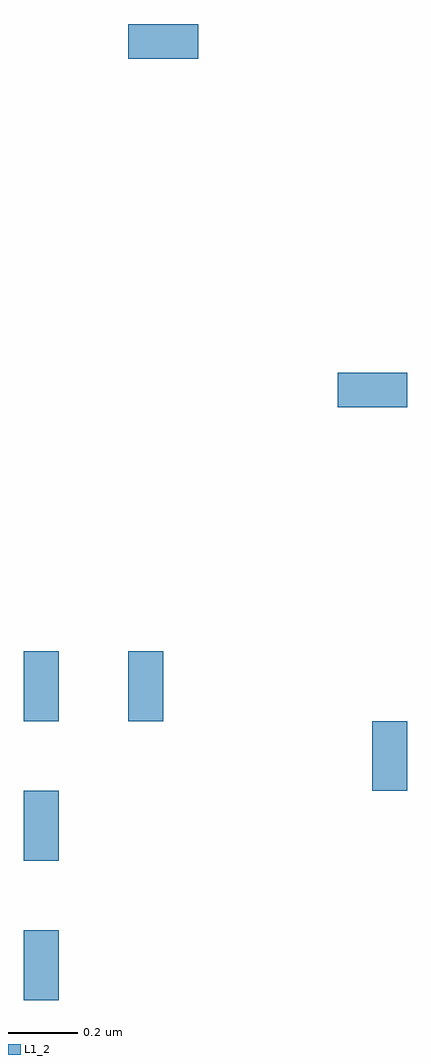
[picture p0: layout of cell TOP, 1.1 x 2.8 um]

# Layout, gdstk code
from math import pi, radians
import gdstk
lib = gdstk.Library(unit=1e-6, precision=1e-09)
def R(c, l, rs):  # rectangles x0, y0, x1, y1
    for r in rs: c.add(gdstk.rectangle(r[:2], r[2:], *l))
L1_2 = (1, 2)

c_a = lib.new_cell('A')
R(c_a, L1_2, [(0.3,-0.4,0.4,-0.2)])

top = lib.new_cell('TOP')
top.add(gdstk.Reference(c_a, (-0.3,0.4)))
top.add(gdstk.Reference(c_a, (-0.3,0.8)))
top.add(gdstk.Reference(c_a, (-0.3,1.2)))
top.add(gdstk.Reference(c_a, (0,1.2)))
top.add(gdstk.Reference(c_a, (0.7,0.4), x_reflection=True))
top.add(gdstk.Reference(c_a, (0.7,1.4), rotation=pi/2))
top.add(gdstk.Reference(c_a, (0.7,2.4), rotation=pi/2, x_reflection=True))

lib.write_gds('TOP.gds')
